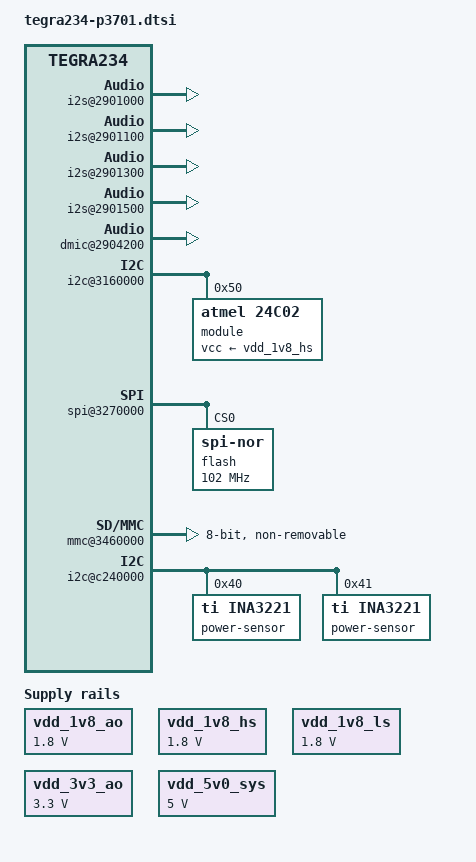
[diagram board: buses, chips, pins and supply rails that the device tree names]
// SPDX-License-Identifier: GPL-2.0

#include "tegra234.dtsi"

/ {
	compatible = "nvidia,p3701", "nvidia,tegra234";

	aliases {
		mmc0 = "/bus@0/mmc@3460000";
		mmc1 = "/bus@0/mmc@3400000";
	};

	bus@0 {
		aconnect@2900000 {
			status = "okay";

			ahub@2900800 {
				status = "okay";

				i2s@2901000 {
					status = "okay";
				};

				i2s@2901100 {
					status = "okay";
				};

				i2s@2901300 {
					status = "okay";
				};

				i2s@2901500 {
					status = "okay";
				};

				dmic@2904200 {
					status = "okay";
				};
			};

			dma-controller@2930000 {
				status = "okay";
			};

			interrupt-controller@2a40000 {
				status = "okay";
			};
		};

		i2c@3160000 {
			status = "okay";

			eeprom@50 {
				compatible = "atmel,24c02";
				reg = <0x50>;

				label = "module";
				vcc-supply = <&vdd_1v8_hs>;
				address-width = <8>;
				pagesize = <8>;
				size = <256>;
				read-only;
			};
		};

		spi@3270000 {
			status = "okay";

			flash@0 {
				compatible = "jedec,spi-nor";
				reg = <0>;
				spi-max-frequency = <102000000>;
				spi-tx-bus-width = <4>;
				spi-rx-bus-width = <4>;
			};
		};

		mmc@3460000 {
			status = "okay";
			bus-width = <8>;
			non-removable;
		};

		padctl@3520000 {
			vclamp-usb-supply = <&vdd_1v8_ao>;
			avdd-usb-supply = <&vdd_3v3_ao>;

			ports {
				usb2-0 {
					vbus-supply = <&vdd_5v0_sys>;
				};

				usb2-1 {
					vbus-supply = <&vdd_5v0_sys>;
				};

				usb2-2 {
					vbus-supply = <&vdd_5v0_sys>;
				};

				usb2-3 {
					vbus-supply = <&vdd_5v0_sys>;
				};
			};
		};

		i2c@c240000 {
			status = "okay";

			power-sensor@40 {
				compatible = "ti,ina3221";
				reg = <0x40>;
				#address-cells = <1>;
				#size-cells = <0>;

				input@0 {
					reg = <0x0>;
					label = "VDD_GPU_SOC";
					shunt-resistor-micro-ohms = <2000>;
				};

				input@1 {
					reg = <0x1>;
					label = "VDD_CPU_CV";
					shunt-resistor-micro-ohms = <2000>;
				};

				input@2 {
					reg = <0x2>;
					label = "VIN_SYS_5V0";
					shunt-resistor-micro-ohms = <2000>;
					ti,summation-disable;
				};
			};

			power-sensor@41 {
				compatible = "ti,ina3221";
				reg = <0x41>;
				#address-cells = <1>;
				#size-cells = <0>;

				input@0 {
					reg = <0x0>;
					status = "disabled";
				};

				input@1 {
					reg = <0x1>;
					label = "VDDQ_VDD2_1V8AO";
					shunt-resistor-micro-ohms = <2000>;
				};

				input@2 {
					reg = <0x2>;
					status = "disabled";
				};
			};
		};

		rtc@c2a0000 {
			status = "okay";
		};

		pmc@c360000 {
			nvidia,invert-interrupt;
		};
	};

	vdd_1v8_ao: regulator-vdd-1v8-ao {
		compatible = "regulator-fixed";
		regulator-name = "VDD_1V8_AO";
		regulator-min-microvolt = <1800000>;
		regulator-max-microvolt = <1800000>;
		regulator-always-on;
	};

	vdd_1v8_hs: regulator-vdd-1v8-hs {
		compatible = "regulator-fixed";
		regulator-name = "VDD_1V8_HS";
		regulator-min-microvolt = <1800000>;
		regulator-max-microvolt = <1800000>;
		regulator-always-on;
	};

	vdd_1v8_ls: regulator-vdd-1v8-ls {
		compatible = "regulator-fixed";
		regulator-name = "VDD_1V8_LS";
		regulator-min-microvolt = <1800000>;
		regulator-max-microvolt = <1800000>;
		regulator-always-on;
	};

	vdd_3v3_ao: regulator-vdd-3v3-ao {
		compatible = "regulator-fixed";
		regulator-name = "VDD_3V3_AO";
		regulator-min-microvolt = <3300000>;
		regulator-max-microvolt = <3300000>;
		regulator-always-on;
	};

	vdd_5v0_sys: regulator-vdd-5v0-sys {
		compatible = "regulator-fixed";
		regulator-name = "VIN_SYS_5V0";
		regulator-min-microvolt = <5000000>;
		regulator-max-microvolt = <5000000>;
		regulator-always-on;
		regulator-boot-on;
	};
};
